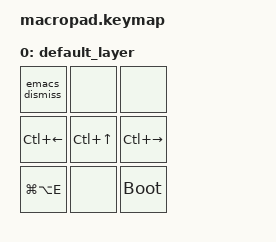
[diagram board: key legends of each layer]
/*
 * Copyright (c) 2022 The ZMK Contributors
 *
 * SPDX-License-Identifier: MIT
 */

#include <behaviors.dtsi>
#include <dt-bindings/zmk/keys.h>
#include <dt-bindings/zmk/bt.h>

/ {
    macros {
        emacs_dismiss: emacs_dismiss {
            compatible = "zmk,behavior-macro";
            #binding-cells = <0>;
            bindings
                = <&macro_press &kp LCTRL>
                , <&macro_tap &kp X>
                , <&macro_release &kp LCTRL>
                , <&macro_tap &kp N5>
                , <&macro_tap &kp N0>
                ;
        };
    };
    keymap {
        compatible = "zmk,keymap";

        default_layer {
            bindings = <
                &emacs_dismiss	&none     	&none
                &kp LC(LEFT)  	&kp LC(UP)	&kp LC(RIGHT)
                &kp LG(LA(E)) 	&none     	&bootloader
            >;
        };
    };
};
